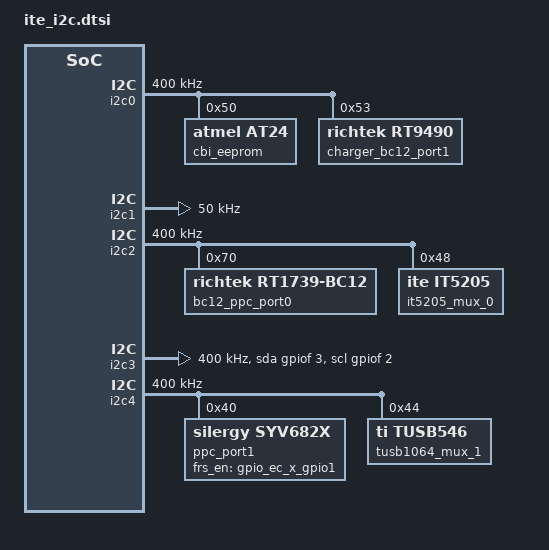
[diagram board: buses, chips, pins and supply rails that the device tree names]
/* Copyright 2022 The ChromiumOS Authors
 * Use of this source code is governed by a BSD-style license that can be
 * found in the LICENSE file.
 */

/ {
	named-i2c-ports {
		compatible = "named-i2c-ports";

		battery {
			i2c-port = <&i2c1>;
			remote-port = <1>;
			enum-names = "I2C_PORT_BATTERY",
				"I2C_PORT_VIRTUAL_BATTERY";
		};
		i2c_charger: charger {
			i2c-port = <&i2c0>;
			enum-names = "I2C_PORT_CHARGER",
				"I2C_PORT_EEPROM";
		};
		i2c_sensor: sensor {
			i2c-port = <&i2c3>;
			enum-names = "I2C_PORT_SENSOR";
		};
		i2c_usb_c0: usb-c0 {
			i2c-port = <&i2c2>;
			enum-names = "I2C_PORT_USB_C0",
				"I2C_PORT_USB_MUX0";
		};
		i2c_usb_c1: usb-c1 {
			i2c-port = <&i2c4>;
			enum-names = "I2C_PORT_USB_C1",
				"I2C_PORT_USB_MUX1";
		};
	};

};

&pinctrl {
	i2c3_clk_gpf2_sleep: i2c3_clk_gpf2_sleep {
		pinmuxs = <&pinctrlf 2 IT8XXX2_ALT_DEFAULT>;
	};
	i2c3_data_gpf3_sleep: i2c3_data_gpf3_sleep {
		pinmuxs = <&pinctrlf 3 IT8XXX2_ALT_DEFAULT>;
	};
};

&i2c0 {
	/* EC_I2C_PWR_CBI */
	label = "I2C_PWR_CBI";
	status = "okay";
	clock-frequency = <I2C_BITRATE_FAST>;
	pinctrl-0 = <&i2c0_clk_gpb3_default
		     &i2c0_data_gpb4_default>;
	pinctrl-names = "default";

	cbi_eeprom: eeprom@50 {
		compatible = "atmel,at24";
		reg = <0x50>;
		size = <2048>;
		pagesize = <16>;
		address-width = <8>;
		timeout = <5>;
	};

	charger_bc12_port1: rt9490@53 {
		compatible = "richtek,rt9490";
		status = "okay";
		reg = <0x53>;
		irq = <&int_usb_c1_bc12_charger>;
		mivr = <4000>;
	};
};

&i2c1 {
	/* EC_I2C_BATTERY */
	label = "I2C_BATTERY";
	status = "okay";
	clock-frequency = <50000>;
	pinctrl-0 = <&i2c1_clk_gpc1_default
		     &i2c1_data_gpc2_default>;
	pinctrl-names = "default";
	fifo-enable;
};

&i2c2 {
	/* EC_I2C_USB_C0 */
	label = "I2C_USB_C0";
	status = "okay";
	clock-frequency = <I2C_BITRATE_FAST>;
	pinctrl-0 = <&i2c2_clk_gpf6_default
		     &i2c2_data_gpf7_default>;
	pinctrl-names = "default";
	/delete-property/ fifo-enable;

	bc12_ppc_port0: rt1739@70 {
		compatible = "richtek,rt1739-bc12", "richtek,rt1739-ppc";
		status = "okay";
		reg = <0x70>;
	};

	it5205_mux_0: it5205-mux-0@48 {
		compatible = "ite,it5205";
		reg = <0x48>;
	};
};

&i2c3 {
	/* EC_I2C_SENSOR */
	label = "I2C_SENSOR";
	status = "okay";
	clock-frequency = <I2C_BITRATE_FAST>;
	scl-gpios = <&gpiof 2 0>;
	sda-gpios = <&gpiof 3 0>;
	pinctrl-0 = <&i2c3_clk_gpf2_default
		     &i2c3_data_gpf3_default>;
	pinctrl-1 = <&i2c3_clk_gpf2_sleep
		     &i2c3_data_gpf3_sleep>;
	pinctrl-names = "default", "sleep";
	prescale-scl-low = <1>;
};

&i2c4 {
	/* EC_I2C_USB_C1 */
	label = "I2C_USB_C1";
	status = "okay";
	clock-frequency = <I2C_BITRATE_FAST>;
	pinctrl-0 = <&i2c4_clk_gpe0_default
		     &i2c4_data_gpe7_default>;
	pinctrl-names = "default";
	prescale-scl-low = <1>;

	ppc_port1: syv682x@40 {
		compatible = "silergy,syv682x";
		status = "okay";
		reg = <0x40>;
		frs_en_gpio = <&gpio_ec_x_gpio1>;
	};

	tusb1064_mux_1: tusb1064-mux-1@44 {
		compatible = "ti,tusb546";
		reg = <0x44>;
		board-init = "tusb1064_mux_1_board_init";
	};
};
